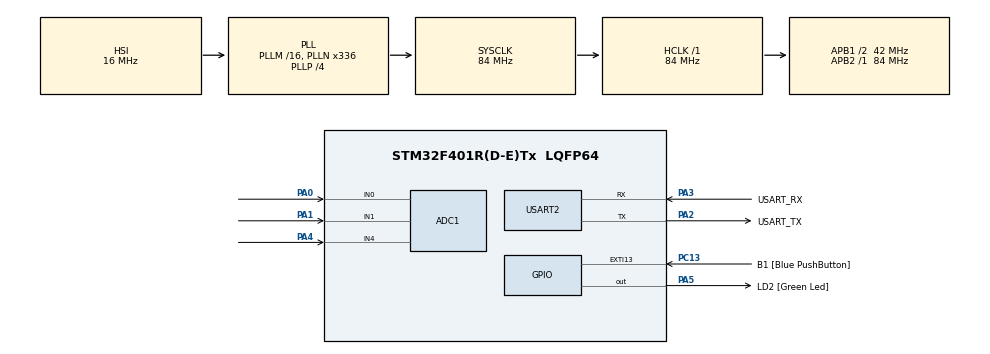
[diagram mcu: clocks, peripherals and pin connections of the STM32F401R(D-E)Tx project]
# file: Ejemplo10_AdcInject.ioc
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ADC1.Channel-0\#ChannelRegularConversion=ADC_CHANNEL_0
ADC1.Channel-1\#ChannelInjectedConversion=ADC_CHANNEL_0
ADC1.Channel-2\#ChannelInjectedConversion=ADC_CHANNEL_1
ADC1.Channel-3\#ChannelInjectedConversion=ADC_CHANNEL_4
ADC1.InjNumberOfConversion=3
ADC1.InjectedOffset-1\#ChannelInjectedConversion=0
ADC1.InjectedOffset-2\#ChannelInjectedConversion=0
ADC1.InjectedOffset-3\#ChannelInjectedConversion=0
ADC1.InjectedRank-1\#ChannelInjectedConversion=1
ADC1.InjectedRank-2\#ChannelInjectedConversion=2
ADC1.InjectedRank-3\#ChannelInjectedConversion=3
ADC1.NbrOfConversionFlag=1
ADC1.Rank-0\#ChannelRegularConversion=1
ADC1.SamplingTime-0\#ChannelRegularConversion=ADC_SAMPLETIME_3CYCLES
ADC1.SamplingTime-1\#ChannelInjectedConversion=ADC_SAMPLETIME_3CYCLES
ADC1.SamplingTime-2\#ChannelInjectedConversion=ADC_SAMPLETIME_3CYCLES
ADC1.SamplingTime-3\#ChannelInjectedConversion=ADC_SAMPLETIME_3CYCLES
ADC1.master=1
Mcu.Family=STM32F4
Mcu.Name=STM32F401R(D-E)Tx
Mcu.Package=LQFP64
NVIC.ADC_IRQn=true\:0\:0\:false\:false\:true\:true\:true\:true
NVIC.PriorityGroup=NVIC_PRIORITYGROUP_0
PA0-WKUP.Signal=ADCx_IN0
PA1.Signal=ADCx_IN1
PA13.GPIO_Label=TMS
PA13.Mode=Serial_Wire
PA13.Signal=SYS_JTMS-SWDIO
PA14.GPIO_Label=TCK
PA14.Mode=Serial_Wire
PA14.Signal=SYS_JTCK-SWCLK
PA2.GPIO_Label=USART_TX
PA2.GPIO_Mode=GPIO_MODE_AF_PP
PA2.GPIO_PuPd=GPIO_NOPULL
PA2.GPIO_Speed=GPIO_SPEED_FREQ_LOW
PA2.Mode=Asynchronous
PA2.Signal=USART2_TX
PA3.GPIO_Label=USART_RX
PA3.GPIO_Mode=GPIO_MODE_AF_PP
PA3.GPIO_PuPd=GPIO_NOPULL
PA3.GPIO_Speed=GPIO_SPEED_FREQ_LOW
PA3.Mode=Asynchronous
PA3.Signal=USART2_RX
PA4.Signal=ADCx_IN4
PA5.GPIO_Label=LD2 [Green Led]
PA5.GPIO_Mode=GPIO_MODE_OUTPUT_PP
PA5.GPIO_PuPd=GPIO_NOPULL
PA5.GPIO_Speed=GPIO_SPEED_FREQ_LOW
PA5.Signal=GPIO_Output
PB3.GPIO_Label=SWO
PB3.Signal=SYS_JTDO-SWO
PC13-ANTI_TAMP.GPIO_Label=B1 [Blue PushButton]
PC13-ANTI_TAMP.GPIO_ModeDefaultEXTI=GPIO_MODE_IT_FALLING
PC13-ANTI_TAMP.GPIO_PuPd=GPIO_NOPULL
PC13-ANTI_TAMP.Signal=GPXTI13
PC14-OSC32_IN.Mode=LSE-External-Oscillator
PC14-OSC32_IN.Signal=RCC_OSC32_IN
PC15-OSC32_OUT.Mode=LSE-External-Oscillator
PC15-OSC32_OUT.Signal=RCC_OSC32_OUT
PH0\ -\ OSC_IN.Mode=HSE-External-Clock-Source
PH0\ -\ OSC_IN.Signal=RCC_OSC_IN
PH1\ -\ OSC_OUT.Mode=HSE-External-Clock-Source
PH1\ -\ OSC_OUT.Signal=RCC_OSC_OUT
ProjectManager.HeapSize=0x200
ProjectManager.StackSize=0x400
ProjectManager.TargetToolchain=STM32CubeIDE
RCC.48MHZClocksFreq_Value=48000000
RCC.AHBFreq_Value=84000000
RCC.APB1CLKDivider=RCC_HCLK_DIV2
RCC.APB1Freq_Value=42000000
RCC.APB1TimFreq_Value=84000000
RCC.APB2Freq_Value=84000000
RCC.APB2TimFreq_Value=84000000
RCC.CortexFreq_Value=84000000
RCC.HCLKFreq_Value=84000000
RCC.HSE_VALUE=8000000
RCC.HSI_VALUE=16000000
RCC.PLLN=336
RCC.PLLP=RCC_PLLP_DIV4
RCC.PLLQ=7
RCC.SYSCLKFreq_VALUE=84000000
RCC.SYSCLKSource=RCC_SYSCLKSOURCE_PLLCLK
RCC.VCOOutputFreq_Value=336000000
SH.ADCx_IN0.0=ADC1_IN0,IN0
SH.ADCx_IN1.0=ADC1_IN1,IN1
SH.ADCx_IN4.0=ADC1_IN4,IN4
USART2.VirtualMode=VM_ASYNC
board=NUCLEO-F401RE

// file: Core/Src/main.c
/* USER CODE BEGIN Header */
/**
  ******************************************************************************
  * @file           : main.c
  * @brief          : Main program body
  ******************************************************************************
  * @attention
  *
  * Copyright (c) 2023 STMicroelectronics.
  * All rights reserved.
  *
  * This software is licensed under terms that can be found in the LICENSE file
  * in the root directory of this software component.
  * If no LICENSE file comes with this software, it is provided AS-IS.
  *
  ******************************************************************************
  */
/* USER CODE END Header */
#include "main.h"

/* USER CODE BEGIN Includes */
#include "stdio.h"
/* USER CODE END Includes */

ADC_HandleTypeDef hadc1;

UART_HandleTypeDef huart2;

void SystemClock_Config(void);
static void MX_GPIO_Init(void);
static void MX_USART2_UART_Init(void);
static void MX_ADC1_Init(void);

/* USER CODE BEGIN 0 */
int __io_putchar(int ch)
{
	HAL_UART_Transmit(&huart2, (uint8_t *)&ch,1, HAL_MAX_DELAY);
	//HAL_UART_Transmit(&huart1, (uint8_t *)&ch,1, HAL_MAX_DELAY);
	return ch;
}
uint32_t adc_r[3];

uint32_t adc_read(uint32_t canal){
uint32_t ADCValue;
ADC_ChannelConfTypeDef sConfig;
sConfig.Channel = canal;
sConfig.Rank = 1;
sConfig.SamplingTime = ADC_SAMPLETIME_3CYCLES;
HAL_ADC_ConfigChannel(&hadc1, &sConfig);
HAL_ADC_Start(&hadc1);
if (HAL_ADC_PollForConversion(&hadc1, 1000000) == HAL_OK){
ADCValue = HAL_ADC_GetValue(&hadc1);
}
return ADCValue;
}

/* USER CODE END 0 */

int main(void)
{

  /* MCU Configuration--------------------------------------------------------*/

  /* Reset of all peripherals, Initializes the Flash interface and the Systick. */
  HAL_Init();

  /* Configure the system clock */
  SystemClock_Config();

  /* Initialize all configured peripherals */
  MX_GPIO_Init();
  MX_USART2_UART_Init();
  MX_ADC1_Init();
  /* USER CODE BEGIN 2 */
 HAL_ADCEx_InjectedStart_IT(&hadc1);
  /* USER CODE END 2 */

  /* Infinite loop */
  /* USER CODE BEGIN WHILE */
  while (1)
  {

	     printf("\n\r\n\r\n\r\n\r");
	 	 printf("adc0 valor es:%u - V :%0.3f\n\r",adc_r[0],adc_r[0]*3.3/4095.0);
	 	 printf("adc1 valor es:%u - V :%0.3f\n\r",adc_r[1],adc_r[1]*3.3/4095.0);
	 	 printf("adc4 valor es:%u - V :%0.3f\n\r",adc_r[2],adc_r[2]*3.3/4095.0);
	 	 HAL_Delay(1000);

    /* USER CODE END WHILE */

  }
}

void SystemClock_Config(void)
{
  RCC_OscInitTypeDef RCC_OscInitStruct = {0};
  RCC_ClkInitTypeDef RCC_ClkInitStruct = {0};

  /** Configure the main internal regulator output voltage
  */
  __HAL_RCC_PWR_CLK_ENABLE();
  __HAL_PWR_VOLTAGESCALING_CONFIG(PWR_REGULATOR_VOLTAGE_SCALE2);

  /** Initializes the RCC Oscillators according to the specified parameters
  * in the RCC_OscInitTypeDef structure.
  */
  RCC_OscInitStruct.OscillatorType = RCC_OSCILLATORTYPE_HSI;
  RCC_OscInitStruct.HSIState = RCC_HSI_ON;
  RCC_OscInitStruct.HSICalibrationValue = RCC_HSICALIBRATION_DEFAULT;
  RCC_OscInitStruct.PLL.PLLState = RCC_PLL_ON;
  RCC_OscInitStruct.PLL.PLLSource = RCC_PLLSOURCE_HSI;
  RCC_OscInitStruct.PLL.PLLM = 16;
  RCC_OscInitStruct.PLL.PLLN = 336;
  RCC_OscInitStruct.PLL.PLLP = RCC_PLLP_DIV4;
  RCC_OscInitStruct.PLL.PLLQ = 7;
  if (HAL_RCC_OscConfig(&RCC_OscInitStruct) != HAL_OK)
  {
    Error_Handler();
  }

  /** Initializes the CPU, AHB and APB buses clocks
  */
  RCC_ClkInitStruct.ClockType = RCC_CLOCKTYPE_HCLK|RCC_CLOCKTYPE_SYSCLK
                              |RCC_CLOCKTYPE_PCLK1|RCC_CLOCKTYPE_PCLK2;
  RCC_ClkInitStruct.SYSCLKSource = RCC_SYSCLKSOURCE_PLLCLK;
  RCC_ClkInitStruct.AHBCLKDivider = RCC_SYSCLK_DIV1;
  RCC_ClkInitStruct.APB1CLKDivider = RCC_HCLK_DIV2;
  RCC_ClkInitStruct.APB2CLKDivider = RCC_HCLK_DIV1;

  if (HAL_RCC_ClockConfig(&RCC_ClkInitStruct, FLASH_LATENCY_2) != HAL_OK)
  {
    Error_Handler();
  }
}

static void MX_ADC1_Init(void)
{

  ADC_ChannelConfTypeDef sConfig = {0};
  ADC_InjectionConfTypeDef sConfigInjected = {0};

  /** Configure the global features of the ADC (Clock, Resolution, Data Alignment and number of conversion)
  */
  hadc1.Instance = ADC1;
  hadc1.Init.ClockPrescaler = ADC_CLOCK_SYNC_PCLK_DIV4;
  hadc1.Init.Resolution = ADC_RESOLUTION_12B;
  hadc1.Init.ScanConvMode = ENABLE;
  hadc1.Init.ContinuousConvMode = DISABLE;
  hadc1.Init.DiscontinuousConvMode = DISABLE;
  hadc1.Init.ExternalTrigConvEdge = ADC_EXTERNALTRIGCONVEDGE_NONE;
  hadc1.Init.ExternalTrigConv = ADC_SOFTWARE_START;
  hadc1.Init.DataAlign = ADC_DATAALIGN_RIGHT;
  hadc1.Init.NbrOfConversion = 1;
  hadc1.Init.DMAContinuousRequests = DISABLE;
  hadc1.Init.EOCSelection = ADC_EOC_SINGLE_CONV;
  if (HAL_ADC_Init(&hadc1) != HAL_OK)
  {
    Error_Handler();
  }

  /** Configure for the selected ADC regular channel its corresponding rank in the sequencer and its sample time.
  */
  sConfig.Channel = ADC_CHANNEL_0;
  sConfig.Rank = 1;
  sConfig.SamplingTime = ADC_SAMPLETIME_3CYCLES;
  if (HAL_ADC_ConfigChannel(&hadc1, &sConfig) != HAL_OK)
  {
    Error_Handler();
  }

  /** Configures for the selected ADC injected channel its corresponding rank in the sequencer and its sample time
  */
  sConfigInjected.InjectedChannel = ADC_CHANNEL_0;
  sConfigInjected.InjectedRank = 1;
  sConfigInjected.InjectedNbrOfConversion = 3;
  sConfigInjected.InjectedSamplingTime = ADC_SAMPLETIME_3CYCLES;
  sConfigInjected.ExternalTrigInjecConvEdge = ADC_EXTERNALTRIGINJECCONVEDGE_NONE;
  sConfigInjected.ExternalTrigInjecConv = ADC_INJECTED_SOFTWARE_START;
  sConfigInjected.AutoInjectedConv = DISABLE;
  sConfigInjected.InjectedDiscontinuousConvMode = DISABLE;
  sConfigInjected.InjectedOffset = 0;
  if (HAL_ADCEx_InjectedConfigChannel(&hadc1, &sConfigInjected) != HAL_OK)
  {
    Error_Handler();
  }

  /** Configures for the selected ADC injected channel its corresponding rank in the sequencer and its sample time
  */
  sConfigInjected.InjectedChannel = ADC_CHANNEL_1;
  sConfigInjected.InjectedRank = 2;
  if (HAL_ADCEx_InjectedConfigChannel(&hadc1, &sConfigInjected) != HAL_OK)
  {
    Error_Handler();
  }

  /** Configures for the selected ADC injected channel its corresponding rank in the sequencer and its sample time
  */
  sConfigInjected.InjectedChannel = ADC_CHANNEL_4;
  sConfigInjected.InjectedRank = 3;
  if (HAL_ADCEx_InjectedConfigChannel(&hadc1, &sConfigInjected) != HAL_OK)
  {
    Error_Handler();
  }

}

static void MX_USART2_UART_Init(void)
{

  huart2.Instance = USART2;
  huart2.Init.BaudRate = 115200;
  huart2.Init.WordLength = UART_WORDLENGTH_8B;
  huart2.Init.StopBits = UART_STOPBITS_1;
  huart2.Init.Parity = UART_PARITY_NONE;
  huart2.Init.Mode = UART_MODE_TX_RX;
  huart2.Init.HwFlowCtl = UART_HWCONTROL_NONE;
  huart2.Init.OverSampling = UART_OVERSAMPLING_16;
  if (HAL_UART_Init(&huart2) != HAL_OK)
  {
    Error_Handler();
  }

}

static void MX_GPIO_Init(void)
{
  GPIO_InitTypeDef GPIO_InitStruct = {0};

  /* GPIO Ports Clock Enable */
  __HAL_RCC_GPIOC_CLK_ENABLE();
  __HAL_RCC_GPIOH_CLK_ENABLE();
  __HAL_RCC_GPIOA_CLK_ENABLE();
  __HAL_RCC_GPIOB_CLK_ENABLE();

  /*Configure GPIO pin Output Level */
  HAL_GPIO_WritePin(LD2_GPIO_Port, LD2_Pin, GPIO_PIN_RESET);

  /*Configure GPIO pin : B1_Pin */
  GPIO_InitStruct.Pin = B1_Pin;
  GPIO_InitStruct.Mode = GPIO_MODE_IT_FALLING;
  GPIO_InitStruct.Pull = GPIO_NOPULL;
  HAL_GPIO_Init(B1_GPIO_Port, &GPIO_InitStruct);

  /*Configure GPIO pin : LD2_Pin */
  GPIO_InitStruct.Pin = LD2_Pin;
  GPIO_InitStruct.Mode = GPIO_MODE_OUTPUT_PP;
  GPIO_InitStruct.Pull = GPIO_NOPULL;
  GPIO_InitStruct.Speed = GPIO_SPEED_FREQ_LOW;
  HAL_GPIO_Init(LD2_GPIO_Port, &GPIO_InitStruct);

}

/* USER CODE BEGIN 4 */
void HAL_ADCEx_InjectedConvCpltCallback(ADC_HandleTypeDef* hadc){

	adc_r[0] = HAL_ADCEx_InjectedGetValue(&hadc1, ADC_INJECTED_RANK_1);// primera inject
	adc_r[1]= HAL_ADCEx_InjectedGetValue(&hadc1, ADC_INJECTED_RANK_2);//segunda inject
	adc_r[2]= HAL_ADCEx_InjectedGetValue(&hadc1, ADC_INJECTED_RANK_3);//tercera inject

	 HAL_ADCEx_InjectedStart_IT(&hadc1);
}
/* USER CODE END 4 */

void Error_Handler(void)
{
  __disable_irq();
  while (1)
  {
  }
}
